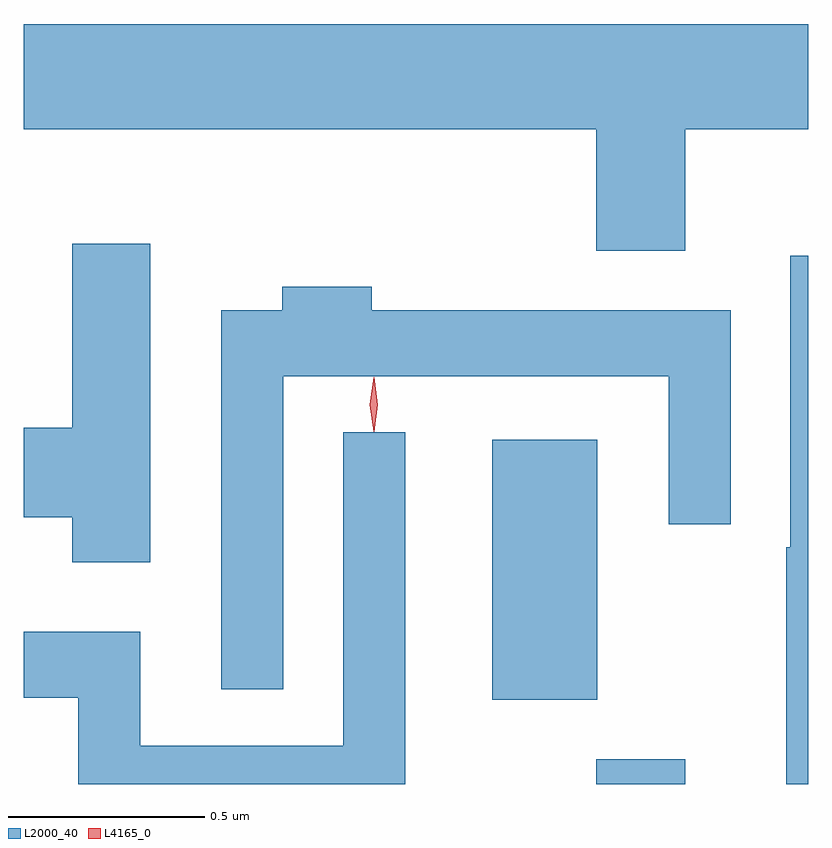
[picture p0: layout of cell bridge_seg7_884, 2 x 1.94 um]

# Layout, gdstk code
import gdstk
lib = gdstk.Library(unit=1e-6, precision=1e-09)
def R(c, l, rs):  # rectangles x0, y0, x1, y1
    for r in rs: c.add(gdstk.rectangle(r[:2], r[2:], *l))
def P(c, l, *ps):  # polygons
    for p in ps: c.add(gdstk.Polygon(p, *l))
L2000_40 = (2000, 40)
L4165_0 = (4165, 0)

bridge_seg7_884 = lib.new_cell('bridge_seg7_884')
R(bridge_seg7_884, L2000_40, [(353.531,1683.786,353.759,1683.849), (353.266,1684.001,353.534,1684.664)])
P(bridge_seg7_884, L2000_40, [(353.759,1685.456),(354.072,1685.456),(354.072,1685.724),(352.072,1685.724),(352.072,1685.456),(353.531,1685.456),(353.531,1685.146),(353.759,1685.146)],
  [(352.394,1685.164),(352.196,1685.164),(352.196,1684.694),(352.072,1684.694),(352.072,1684.466),(352.196,1684.466),(352.196,1684.351),(352.394,1684.351)],
  [(354.072,1685.133),(354.026,1685.133),(354.026,1684.39),(354.016,1684.39),(354.016,1683.786),(354.072,1683.786)],
  [(352.734,1684.826),(353.716,1684.826),(353.716,1684.448),(353.874,1684.448),(353.874,1684.994),(352.959,1684.994),(352.959,1685.054),(352.731,1685.054),(352.731,1684.994),(352.576,1684.994),(352.576,1684.028),(352.734,1684.028)],
  [(353.044,1684.683),(352.886,1684.683),(352.886,1683.884),(352.369,1683.884),(352.369,1684.174),(352.072,1684.174),(352.072,1684.006),(352.211,1684.006),(352.211,1683.786),(353.044,1683.786)])
P(bridge_seg7_884, L4165_0, [(352.964,1684.684),(352.964,1684.684),(352.954,1684.753),(352.964,1684.823),(352.964,1684.823),(352.965,1684.823),(352.974,1684.753),(352.965,1684.684)])

lib.write_gds('bridge_seg7_884.gds')
